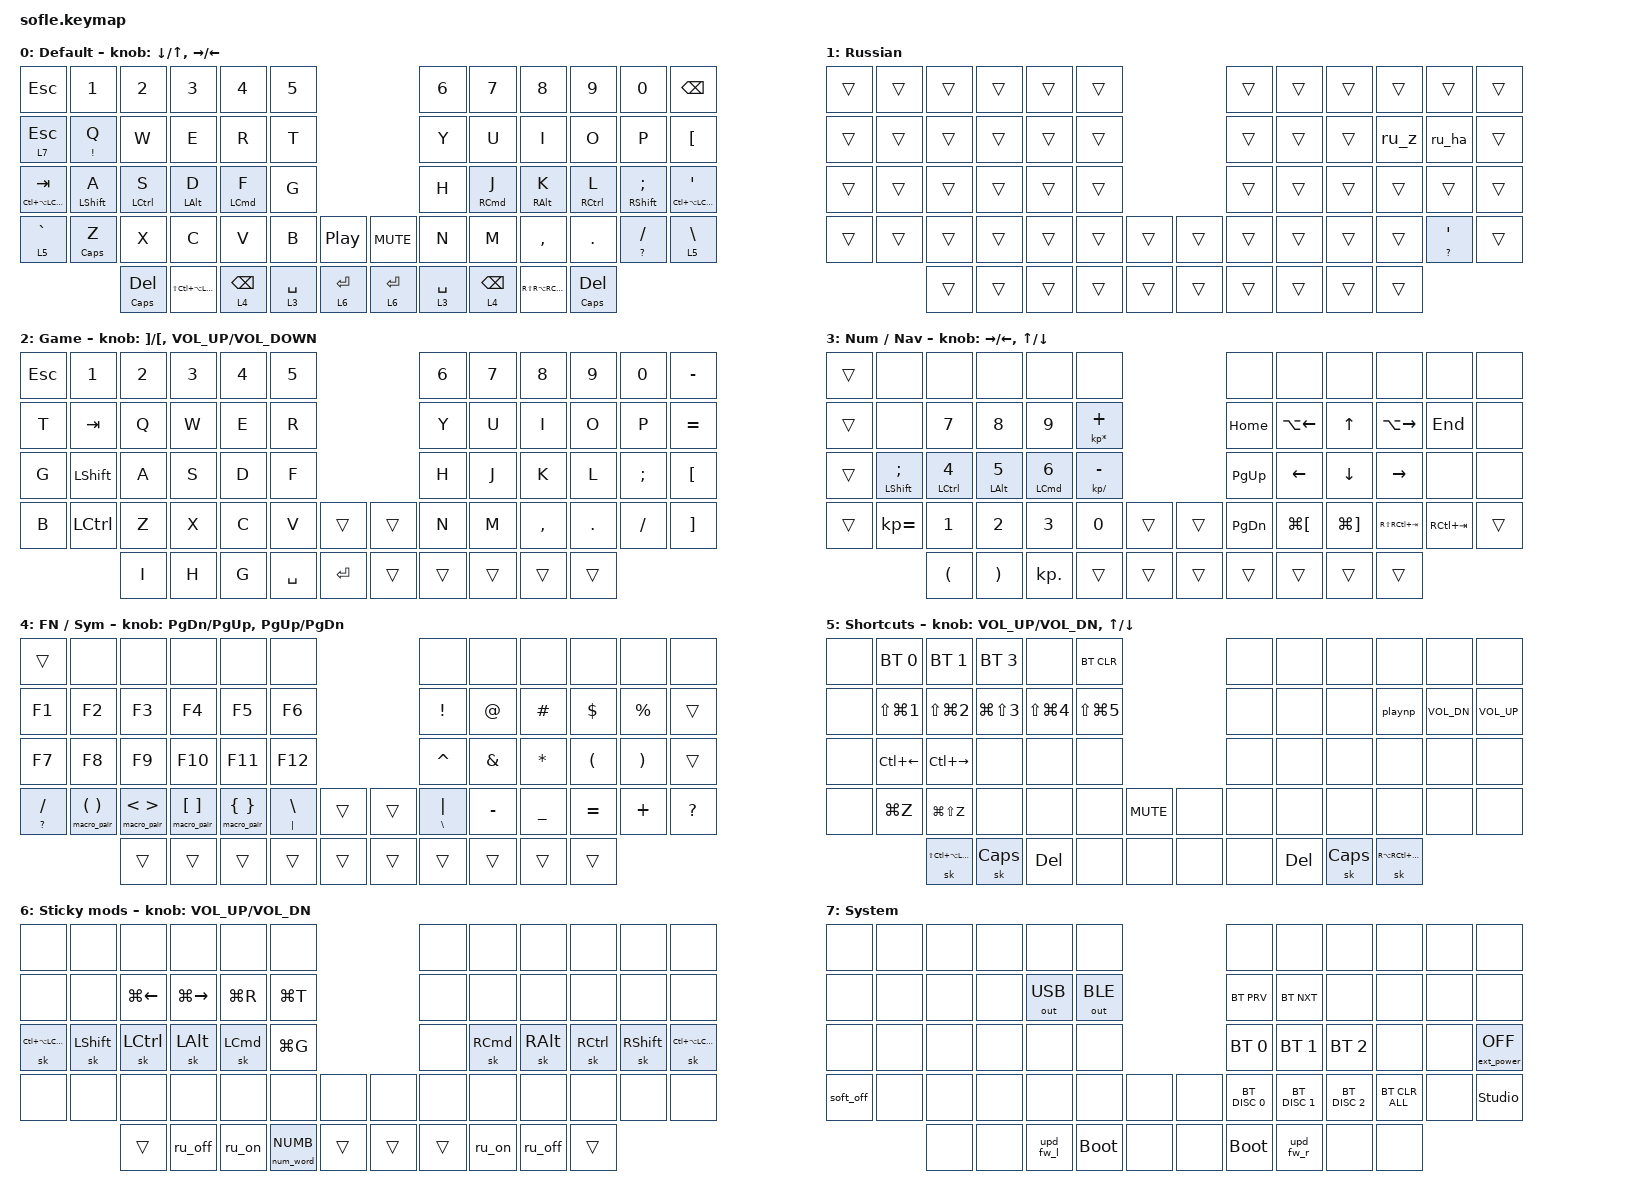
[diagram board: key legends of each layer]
/*
 * Copyright (c) 2020 The ZMK Contributors
 *
 * SPDX-License-Identifier: MIT
 */

#include <behaviors/num_word.dtsi>
#include <behaviors.dtsi>
#include <dt-bindings/zmk/bt.h>
#include <dt-bindings/zmk/ext_power.h>
#include <dt-bindings/zmk/keys.h>
#include <dt-bindings/zmk/outputs.h>

#define DFLT   0
#define RU     1
#define GAME   2
#define NUMB   3
#define FUNC   4
#define MEDIA  5
#define STCKY  6
#define SYS    7

&lt { quick_tap_ms = <250>; };

&mt {
    hold-trigger-on-release;
    flavor = "balanced";
    quick-tap-ms = <250>;
};

&soft_off { hold-time-ms = <2000>; };

&sk {
    release-after-ms = <2000>;
    quick-release;
};

&sl { release-after-ms = <2000>; };

/ {
    combos {
        compatible = "zmk,combos";

        combo_toggle_game {
            bindings = <&tog 2>;
            key-positions = <47 36>;
            layers = <0 2 1>;
        };

        combo_leader_key {
            bindings = <&kp F13>;
            key-positions = <26 33>;
            layers = <0 1>;
            timeout-ms = <80>;
            require-prior-idle-ms = <120>;
        };

        combo_ha_sch {
            bindings = <&kp O>;
            key-positions = <20 21>;
            layers = <1>;
        };

        combo_harden_sign {
            bindings = <&kp RIGHT_BRACKET>;
            key-positions = <46 45>;
            layers = <1>;
        };

        combo_yo {
            bindings = <&kp BACKSLASH>;
            key-positions = <16 17>;
            layers = <1>;
        };

        combo_excl {
            bindings = <&mt LA(N1) LS(N1)>;
            key-positions = <13 25>;
            layers = <0 1>;
        };

        combo_at {
            bindings = <&mt LA(N2) LS(N2)>;
            key-positions = <14 26>;
            layers = <0 1>;
        };

        combo_hash {
            bindings = <&mt LA(N3) LS(N3)>;
            key-positions = <15 27>;
            layers = <0 1>;
        };

        combo_doll {
            bindings = <&mt LA(N4) LS(N4)>;
            key-positions = <16 28>;
            layers = <0 1>;
        };

        combo_percnt {
            bindings = <&mt LA(N5) LS(N5)>;
            key-positions = <29 17>;
            layers = <0 1>;
        };

        combo_caret {
            bindings = <&mt LA(N6) LS(N6)>;
            key-positions = <18 30>;
            layers = <0 1>;
        };

        combo_ampersand {
            bindings = <&mt LA(N7) LS(N7)>;
            key-positions = <19 31>;
            layers = <0 1>;
        };

        combo_asterisk {
            bindings = <&mt LA(N8) LS(N8)>;
            key-positions = <20 32>;
            layers = <0 1>;
        };

        combo_lpar {
            bindings = <&mt LA(N9) LS(N9)>;
            key-positions = <21 33>;
            layers = <0 1>;
        };

        combo_rpar {
            bindings = <&mt LA(N0) LS(N0)>;
            key-positions = <22 34>;
            layers = <0 1>;
        };

        combo_under_ellipsis {
            bindings = <&mt LA(SEMI) LS(MINUS)>;
            key-positions = <20 19>;
            layers = <0 1>;
        };

        combo_equal {
            bindings = <&mt PLUS EQUAL>;
            key-positions = <30 31>;
            require-prior-idle-ms = <180>;
            layers = <0 1>;
        };

        combo_dash {
            bindings = <&mt LA(LS(MINUS)) MINUS>;
            key-positions = <32 31>;
            require-prior-idle-ms = <180>;
            layers = <0 1>;
        };

        combo_quo {
            bindings = <&single_double SQT SQT>;
            key-positions = <46 45>;
            layers = <0>;
        };

        combo_dquo {
            bindings = <&single_double DQT DQT>;
            key-positions = <46 47>;
            layers = <0>;
        };

        combo_dquo_ru {
            bindings = <&single_double LS(NUMBER_2) LS(NUMBER_2)>;
            key-positions = <47 46>;
            layers = <1>;
        };

        combo_grave {
            bindings = <&single_double GRAVE GRAVE>;
            key-positions = <48 47>;
            layers = <0>;
        };

        combo_del {
            bindings = <&mt LA(DEL) DEL>;
            key-positions = <20 21>;
            layers = <3>;
        };

        combo_bsp {
            bindings = <&mt LA(BSPC) BSPC>;
            key-positions = <19 20>;
            layers = <3>;
        };

        combo_mute {
            bindings = <&kp C_MUTE>;
            key-positions = <23 22>;
            layers = <5>;
        };

        combo_copy_cut {
            bindings = <&mt LG(X) LG(C)>;
            key-positions = <14 15>;
            layers = <0 1>;
        };

        combo_paste {
            bindings = <&mt LA(LC(V)) LG(V)>;
            key-positions = <15 16>;
            layers = <0 1>;
        };

        combo_html_tag {
            bindings = <&html_tag 0 0>;
            key-positions = <28 29>;
            layers = <0 1>;
        };

        combo_eq_quo {
            bindings = <&mt LS(LA(LC(J))) LA(LC(J))>;
            key-positions = <40 41>;
            layers = <0 1>;
        };

        combo_sk_lshift {
            bindings = <&sk LSHFT>;
            key-positions = <25 38>;
            layers = <0 1>;
        };

        combo_sk_rshift {
            bindings = <&sk RSHFT>;
            key-positions = <34 47>;
            layers = <0 1>;
        };

        combo_par {
            bindings = <&par>;
            key-positions = <37 38>;
            layers = <3>;
        };

        combo_bkt {
            bindings = <&bkt>;
            key-positions = <38 39>;
            layers = <3>;
        };

        combo_brc {
            bindings = <&brc>;
            key-positions = <39 40>;
            layers = <3>;
        };

        combo_comma {
            bindings = <&mt SEMI COMMA>;
            key-positions = <38 39>;
            layers = <0>;
        };

        combo_comma_ru {
            bindings = <&mt RS(NUMBER_8) RS(NUMBER_6)>;
            key-positions = <38 39>;
            layers = <1>;
        };

        combo_dot {
            bindings = <&mt COLON DOT>;
            key-positions = <39 40>;
            layers = <0>;
        };

        combo_dot_ru {
            bindings = <&mt RS(NUMBER_5) RS(NUMBER_7)>;
            key-positions = <40 39>;
            layers = <1>;
        };

        combo_fwslash_question {
            bindings = <&kp SLASH>;
            key-positions = <48 47>;
            layers = <1>;
        };

        combo_ru_on {
            bindings = <&ru_on>;
            key-positions = <27 26 28>;
            layers = <1 0>;
        };

        combo_ru_off {
            bindings = <&ru_off>;
            key-positions = <39 38 40>;
            layers = <1 0>;
        };

        leader-key {
            bindings = <&ak_leader>;
            key-positions = <37 38>;
            layers = <1 0>;
        };
    };

    macros {
        #include "lk_macros.dtsi"

        upd_fw_l: upd_fw {
            compatible = "zmk,behavior-macro";
            #binding-cells = <0>;
            bindings = <&kp LG(LC(LA(LS(NUMBER_1)))) &bootloader>;
        };

        upd_fw_r: upd_fw_r {
            compatible = "zmk,behavior-macro";
            #binding-cells = <0>;
            bindings = <&kp LG(LC(LA(LS(NUMBER_2)))) &bootloader>;
        };

        equals_qoute: equals_qoute {
            compatible = "zmk,behavior-macro";
            #binding-cells = <0>;
            bindings = <&kp EQUAL &kp DOUBLE_QUOTES &kp DOUBLE_QUOTES &kp LEFT>;
        };

        par: par {
            compatible = "zmk,behavior-macro";
            #binding-cells = <0>;
            bindings = <&kp LPAR &kp RPAR &kp LEFT>;
            tap-ms = <50>;
        };

        bkt: bkt {
            compatible = "zmk,behavior-macro";
            #binding-cells = <0>;
            bindings =
                <&macro_wait_time 50>,
                <&ru_off>,
                <&macro_wait_time 10>,
                <&kp LBKT &kp RBKT &kp LEFT>;

            label = "BKT";
        };

        brc: brc {
            compatible = "zmk,behavior-macro";
            #binding-cells = <0>;
            bindings =
                <&macro_wait_time 50>,
                <&ru_off>,
                <&macro_wait_time 10>,
                <&kp LBRC &kp RBRC &kp LEFT>;
        };

        ru_on: to_ru {
            compatible = "zmk,behavior-macro";
            #binding-cells = <0>;
            bindings = <&tog_on 1 &kp LS(LA(LC(LG(N))))>;
        };

        ru_off: to_en {
            compatible = "zmk,behavior-macro";
            #binding-cells = <0>;
            bindings = <&tog_off 1 &kp LS(LA(LC(LG(M))))>;
        };

        tag_open: html_tag_open {
            compatible = "zmk,behavior-macro";
            #binding-cells = <0>;
            bindings =
                <&macro_wait_time 50>,
                <&ru_off>,
                <&macro_wait_time 10>,
                <&kp LESS_THAN &kp GREATER_THAN &kp LEFT>;

            label = "HTML_TAG_OPEN";
        };

        tag_close: html_tag {
            compatible = "zmk,behavior-macro";
            #binding-cells = <0>;
            bindings =
                <&ru_off>,
                <&macro_wait_time 10>,
                <&kp LESS_THAN &kp GREATER_THAN &kp LEFT &kp SLASH>;
        };

        macro_double: macro_double {
            compatible = "zmk,behavior-macro-one-param";
            #binding-cells = <1>;
            bindings = <&macro_param_1to1 &kp MACRO_PLACEHOLDER &macro_param_1to1 &kp MACRO_PLACEHOLDER &kp LEFT>;
            label = "PARAMETRIC_PAIR";
        };

        macro_pair: macro_pair {
            compatible = "zmk,behavior-macro-two-param";
            #binding-cells = <2>;
            bindings =
                <&macro_param_1to1 &kp MACRO_PLACEHOLDER>,
                <&macro_press>,
                <&macro_param_2to1 &hold_sym_left MACRO_PLACEHOLDER 0>,
                <&macro_pause_for_release>,
                <&macro_release>,
                <&macro_param_2to1 &hold_sym_left MACRO_PLACEHOLDER 0>,
                <&macro_tap>;

            label = "MACRO_P";
        };

        sym_left: sym_left {
            compatible = "zmk,behavior-macro-one-param";
            #binding-cells = <1>;
            bindings = <&macro_param_1to1 &kp MACRO_PLACEHOLDER &kp LEFT>;
            label = "sym_left";
        };
    };

    /*
* <0>    <1>    <2>    <3>    <4>    <5>              <6>    <7>    <8>    <9>    <10>   <11>
* <12>   <13>   <14>   <15>   <16>   <17>             <18>   <19>   <20>   <21>   <22>   <23>
* <24>   <25>   <26>   <27>   <28>   <29>             <30>   <31>   <32>   <33>   <34>   <35>
* <36>   <37>   <38>   <39>   <40>   <41>             <42>   <43>   <44>   <45>   <46>   <47>
*               <48>   <49>   <50>   <51> <52>   <53> <54>   <55>   <56>   <57>
*/

    behaviors {
        /omit-if-no-ref/

        leader1: leader1 {
            compatible = "zmk,behavior-leader-key";
            #binding-cells = <0>;

            ba {
                sequence = <B A>;
                bindings = <&ba>;
            };

            bp {
                sequence = <B P>;
                bindings = <&bp>;
            };

            fs {
                sequence = <F S>;
                bindings = <&fs>;
            };

            fw {
                sequence = <F W>;
                bindings = <&fw>;
            };

            va {
                sequence = <V A>;
                bindings = <&va>;
            };

            ca {
                sequence = <C A>;
                bindings = <&ca>;
            };

            fd {
                sequence = <F D>;
                bindings = <&fd>;
            };

            me {
                sequence = <M E>;
                bindings = <&me>;
            };

            mw {
                sequence = <M W>;
                bindings = <&mw>;
            };

            nw {
                sequence = <N W>;
                bindings = <&nw>;
            };

            cs {
                sequence = <C S>;
                bindings = <&cs>;
            };

            st {
                sequence = <S T>;
                bindings = <&st>;
            };
        };

        ak_leader: ak_leader {
            compatible = "zmk,behavior-adaptive-key";
            #binding-cells = <0>;
            bindings = <&leader1>;

            akt_s {
                trigger-keys = <S>;
                max-prior-idle-ms = <500>;
                bindings = <&kp H &kp U &kp S &kp H &kp A &kp K &kp O &kp V &kp AT &kp G &kp M &kp A &kp I &kp L &kp DOT &kp C &kp O &kp M>;
            };
        };

        playnp: play_next_previous_media {
            compatible = "zmk,behavior-tap-dance";
            #binding-cells = <0>;
            tapping-term-ms = <300>;
            bindings = <&kp C_PP>, <&kp C_NEXT>, <&kp C_PREV>;
        };

        mtl: home-row-mods-left {
            compatible = "zmk,behavior-hold-tap";
            bindings = <&kp>, <&kp>;

            #binding-cells = <2>;
            tapping-term-ms = <200>;
            quick-tap-ms = <180>;
            flavor = "balanced";
            hold-trigger-on-release;
            hold-trigger-key-positions = <6 7 8 9 10 11 18 19 20 21 22 23 30 31 32 33 34 35 34 35 44 45 46 47 48 49 52 53 54 55 56 57 58 59>;
        };

        mtr: home-row-mods-right {
            compatible = "zmk,behavior-hold-tap";
            bindings = <&kp>, <&kp>;

            #binding-cells = <2>;
            tapping-term-ms = <200>;
            quick-tap-ms = <180>;
            flavor = "balanced";
            hold-trigger-on-release;
            hold-trigger-key-positions = <0 1 2 3 4 5 12 13 14 15 16 17 24 25 26 27 28 29 36 37 38 39 40 41 37 50 51 52 53 54 55 56 57>;
        };

        tog_on: toggle_layer_on_only {
            compatible = "zmk,behavior-toggle-layer";
            #binding-cells = <1>;
            display-name = "Toggle Layer On";
            toggle-mode = "on";
        };

        tog_off: toggle_layer_off_only {
            compatible = "zmk,behavior-toggle-layer";
            #binding-cells = <1>;
            display-name = "Toggle Layer Off";
            toggle-mode = "off";
        };

        html_tag: html_tag {
            compatible = "zmk,behavior-hold-tap";
            label = "HTML_TAG";
            bindings = <&tag_close>, <&tag_open>;

            #binding-cells = <2>;
            tapping-term-ms = <200>;
            flavor = "balanced";
        };

        single_double: single_double {
            compatible = "zmk,behavior-hold-tap";
            label = "SINGLE_DOUBLE";
            bindings = <&macro_double>, <&kp>;

            #binding-cells = <2>;
            flavor = "tap-preferred";
            tapping-term-ms = <200>;
        };

        hold_sym_left: hold_sym_left {
            compatible = "zmk,behavior-hold-tap";
            label = "HOLD_SYM_LEFT";
            bindings = <&sym_left>, <&none>;

            #binding-cells = <2>;
            flavor = "tap-preferred";
            tapping-term-ms = <200>;
        };

        swapper: swapper {
            compatible = "zmk,behavior-tri-state";
            #binding-cells = <0>;
            bindings = <&kt LGUI>, <&kp TAB>, <&kt LGUI>;

            ignored-key-positions = <13 14 37 38 20 31 32 33>;// Arrows and BSPC, ENTER and DEL
        };

        tabber: tabber {
            compatible = "zmk,behavior-tri-state";
            #binding-cells = <0>;
            bindings = <&kt LCTRL>, <&kp TAB>, <&kt LCTRL>;

            ignored-key-positions = <13 14 40>;
            label = "TABBER";
        };

        ru_z: ru_z {
            compatible = "zmk,behavior-mod-morph";
            label = "RU_Z";
            bindings = <&kp P>, <&kp O>;

            #binding-cells = <0>;
            mods = <(MOD_LCTL|MOD_LALT|MOD_LGUI|MOD_RCTL|MOD_RALT|MOD_RGUI)>;
            keep-mods = <(MOD_LCTL|MOD_LALT|MOD_LGUI|MOD_RCTL|MOD_RALT|MOD_RGUI)>;
        };

        ru_ha: ru_ha {
            compatible = "zmk,behavior-mod-morph";
            label = "RU_HA";
            bindings = <&kp LEFT_BRACKET>, <&kp P>;

            #binding-cells = <0>;
            mods = <(MOD_LCTL|MOD_LALT|MOD_LGUI|MOD_RCTL|MOD_RALT|MOD_RGUI)>;
            keep-mods = <(MOD_LCTL|MOD_LALT|MOD_LGUI|MOD_RCTL|MOD_RALT|MOD_RGUI)>;
        };
    };

    keymap {
        compatible = "zmk,keymap";

        default_layer {
            bindings = <
&kp ESC               &kp N1         &kp N2        &kp N3                &kp N4       &kp N5                                        &kp N6       &kp N7       &kp N8                &kp N9        &kp N0            &kp BSPC
&lt 7 ESC             &mt EXCL Q     &kp W         &kp E                 &kp R        &kp T                                         &kp Y        &kp U        &kp I                 &kp O         &kp P             &kp LBKT
&mt LC(LA(LCMD)) TAB  &mtl LSHIFT A  &mtl LCTRL S  &mtl LALT D           &mtl LCMD F  &kp G                                         &kp H        &mtr RCMD J  &mtr RALT K           &mtr RCTRL L  &mtr RSHIFT SEMI  &mt LC(LA(LCMD)) SQT
&lt 5 GRAVE           &mt CAPS Z     &kp X         &kp C                 &kp V        &kp B        &kp C_PLAY_PAUSE    &kp K_MUTE   &kp N        &kp M        &kp COMMA             &kp DOT       &mt QMARK SLASH   &lt 5 BSLH
                                     &mt CAPS DEL  &kp LS(LC(LA(LCMD)))  &lt 4 BSPC   &lt 3 SPACE  &lt 6 ENTER         &lt 6 ENTER  &lt 3 SPACE  &lt 4 BSPC   &kp RS(RA(RC(RCMD)))  &mt CAPS DEL
            >;

            sensor-bindings = <&inc_dec_kp DOWN UP>, <&inc_dec_kp RIGHT LEFT>;

            display-name = "Default";
        };

        ru {
            bindings = <
&trans  &trans  &trans  &trans  &trans  &trans                    &trans  &trans  &trans  &trans  &trans          &trans
&trans  &trans  &trans  &trans  &trans  &trans                    &trans  &trans  &trans  &ru_z   &ru_ha          &trans
&trans  &trans  &trans  &trans  &trans  &trans                    &trans  &trans  &trans  &trans  &trans          &trans
&trans  &trans  &trans  &trans  &trans  &trans  &trans    &trans  &trans  &trans  &trans  &trans  &mt QMARK APOS  &trans
                &trans  &trans  &trans  &trans  &trans    &trans  &trans  &trans  &trans  &trans
            >;

            label = "Russian";
        };

        game {
            bindings = <
&kp ESC  &kp N1     &kp N2  &kp N3  &kp N4  &kp N5                        &kp N6  &kp N7  &kp N8     &kp N9   &kp N0    &kp MINUS
&kp T    &kp TAB    &kp Q   &kp W   &kp E   &kp R                         &kp Y   &kp U   &kp I      &kp O    &kp P     &kp EQUAL
&kp G    &kp LSHFT  &kp A   &kp S   &kp D   &kp F                         &kp H   &kp J   &kp K      &kp L    &kp SEMI  &kp LBKT
&kp B    &kp LCTRL  &kp Z   &kp X   &kp C   &kp V      &trans     &trans  &kp N   &kp M   &kp COMMA  &kp DOT  &kp FSLH  &kp RBKT
                    &kp I   &kp H   &kp G   &kp SPACE  &kp RET    &trans  &trans  &trans  &trans     &trans
            >;

            sensor-bindings =
                <&inc_dec_kp RBKT LBKT>,
                <&inc_dec_kp C_VOLUME_UP C_VOLUME_DOWN>;

            display-name = "Game";
        };

        num {
            bindings = <
&trans  &none            &none         &none        &none        &none                                   &none      &none         &none         &none            &none        &none
&trans  &none            &kp N7        &kp N8       &kp N9       &mt KP_ASTERISK PLUS                    &kp HOME   &kp LA(LEFT)  &kp UP        &kp LA(RIGHT)    &kp END      &none
&trans  &mt LSHIFT SEMI  &mt LCTRL N4  &mt LALT N5  &mt LCMD N6  &mt KP_DIVIDE MINUS                     &kp PG_UP  &kp LEFT      &kp DOWN      &kp RIGHT        &none        &none
&trans  &kp KP_EQUAL     &kp N1        &kp N2       &kp N3       &kp N0                &trans    &trans  &kp PG_DN  &kp LG(LBKT)  &kp LG(RBKT)  &kp RS(RC(TAB))  &kp RC(TAB)  &trans
                         &kp LPAR      &kp RPAR     &kp KP_DOT   &trans                &trans    &trans  &trans     &trans        &trans        &trans
            >;

            sensor-bindings = <&inc_dec_kp RIGHT LEFT>, <&inc_dec_kp UP DOWN>;

            display-name = "Num / Nav";
        };

        symb {
            bindings = <
&trans           &none                  &none              &none                  &none                  &none                            &none          &none      &none      &none      &none        &none
&kp F1           &kp F2                 &kp F3             &kp F4                 &kp F5                 &kp F6                           &kp EXCL       &kp AT     &kp POUND  &kp DLLR   &kp PERCENT  &trans
&kp F7           &kp F8                 &kp F9             &kp F10                &kp F11                &kp F12                          &kp CARET      &kp AMPS   &kp ASTRK  &kp LPAR   &kp RPAR     &trans
&mt QMARK SLASH  &macro_pair LPAR RPAR  &macro_pair LT GT  &macro_pair LBKT RBKT  &macro_pair LBRC RBRC  &mt PIPE BSLH  &trans    &trans  &mt BSLH PIPE  &kp MINUS  &kp UNDER  &kp EQUAL  &kp PLUS     &kp QMARK
                                        &trans             &trans                 &trans                 &trans         &trans    &trans  &trans         &trans     &trans     &trans
            >;

            sensor-bindings =
                <&inc_dec_kp PG_DN PG_UP>,
                <&inc_dec_kp PG_UP PG_DN>;

            display-name = "FN / Sym";
        };

        media {
            bindings = <
&none  &bt BT_SEL 0    &bt BT_SEL 1          &bt BT_SEL 3    &none           &bt BT_CLR                           &none  &none    &none     &none                 &none         &none
&none  &kp LS(LG(N1))  &kp LS(LG(N2))        &kp LG(LS(N3))  &kp LS(LG(N4))  &kp LS(LG(N5))                       &none  &none    &none     &playnp               &kp C_VOL_DN  &kp C_VOL_UP
&none  &kp LC(LEFT)    &kp LC(RIGHT)         &none           &none           &none                                &none  &none    &none     &none                 &none         &none
&none  &kp LG(Z)       &kp LG(LS(Z))         &none           &none           &none           &kp K_MUTE    &none  &none  &none    &none     &none                 &none         &none
                       &sk LS(LC(LA(LCMD)))  &sk CAPS        &kp DEL         &none           &none         &none  &none  &kp DEL  &sk CAPS  &sk RA(RC(RS(RCMD)))
            >;

            sensor-bindings =
                <&inc_dec_kp C_VOL_UP C_VOL_DN>,
                <&inc_dec_kp UP_ARROW DOWN>;

            display-name = "Shortcuts";
        };

        sticky {
            bindings = <
&none             &none       &none         &none          &none      &none                             &none   &none     &none     &none      &none       &none
&none             &none       &kp LG(LEFT)  &kp LG(RIGHT)  &kp LG(R)  &kp LG(T)                         &none   &none     &none     &none      &none       &none
&sk LC(LA(LCMD))  &sk LSHIFT  &sk LCTRL     &sk LALT       &sk LCMD   &kp LG(G)                         &none   &sk RCMD  &sk RALT  &sk RCTRL  &sk RSHIFT  &sk LC(LA(LCMD))
&none             &none       &none         &none          &none      &none           &none     &none   &none   &none     &none     &none      &none       &none
                              &trans        &ru_off        &ru_on     &num_word NUMB  &trans    &trans  &trans  &ru_on    &ru_off   &trans
            >;

            display-name = "Sticky mods";
            sensor-bindings = <&inc_dec_kp C_VOL_UP C_VOL_DN>;
        };

        system {
            bindings = <
&none      &none  &none  &none  &none         &none                         &none          &none          &none          &none           &none  &none
&none      &none  &none  &none  &out OUT_USB  &out OUT_BLE                  &bt BT_PRV     &bt BT_NXT     &none          &none           &none  &none
&none      &none  &none  &none  &none         &none                         &bt BT_SEL 0   &bt BT_SEL 1   &bt BT_SEL 2   &none           &none  &ext_power EP_OFF
&soft_off  &none  &none  &none  &none         &none         &none    &none  &bt BT_DISC 0  &bt BT_DISC 1  &bt BT_DISC 2  &bt BT_CLR_ALL  &none  &studio_unlock
                  &none  &none  &upd_fw_l     &bootloader   &none    &none  &bootloader    &upd_fw_r      &none          &none
            >;

            display-name = "System";
        };
    };
};
